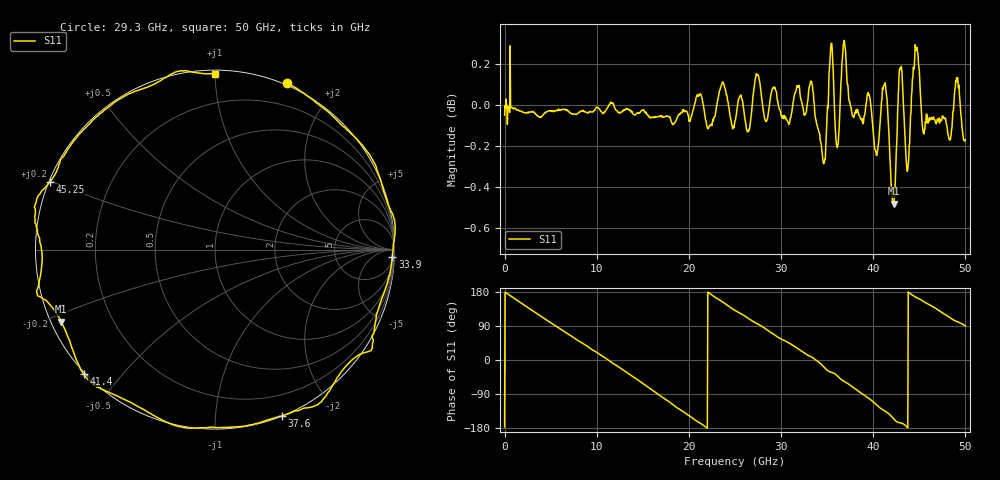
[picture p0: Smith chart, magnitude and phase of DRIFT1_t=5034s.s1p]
!Created with skrf (http://scikit-rf.org).
# Hz S RI R 50.0
!freq ReS11 ImS11
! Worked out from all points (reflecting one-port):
!   1001 points, 300 kHz to 50 GHz, reference 50 ohm
!   lowest |S11| = -0.5 dB at 42.2 GHz (marker M1), VSWR 36.17, Z = 1.45 - j11.1 ohm
!   phase of S11 starts at -177 deg and turns -813 deg over the sweep
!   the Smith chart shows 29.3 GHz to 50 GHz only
!   S11 on the Smith chart (normalised r, x): 29.3 GHz: -0.02, +1.52; 33.9 GHz: 13, -46; 37.6 GHz: 0.00, -1.48; 41.4 GHz: -0.00, -0.40; 45.25 GHz: 0.00, +0.20; 50 GHz: 0.02, +1.00
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300000  -0.9927 -0.0568
1.60029e9  -0.8929 0.4433
3.35028e9  -0.5704 0.8153
6.250262e9  0.1988 0.9776
9.500243e9  0.8879 0.4514
1.115023e10  0.9982 0.0237
1.250022e10  0.934 -0.3442
1.420021e10  0.6619 -0.7424
1.580021e10  0.2477 -0.9614
1.73502e10  -0.2041 -0.9721
1.875019e10  -0.5902 -0.7991
2.160017e10  -0.991 -0.1248
2.350016e10  -0.9211 0.4161
2.500015e10  -0.6476 0.7503
2.730014e10  -0.1268 1.01
2.930012e10  0.4015 0.9263
3.125011e10  0.7764 0.6293
3.39001e10  0.988 -0.0396
3.520009e10  0.883 -0.5056
3.750008e10  0.3992 -0.9175
3.760007e10  0.3711 -0.9271
3.950006e10  -0.1879 -0.9878
4.140005e10  -0.7323 -0.6912
4.220005e10  -0.8565 -0.4021
4.375004e10  -0.9644 -0.0161
4.525003e10  -0.9209 0.3757
4.775001e10  -0.506 0.8537
5e10  -0.000423 0.9808
